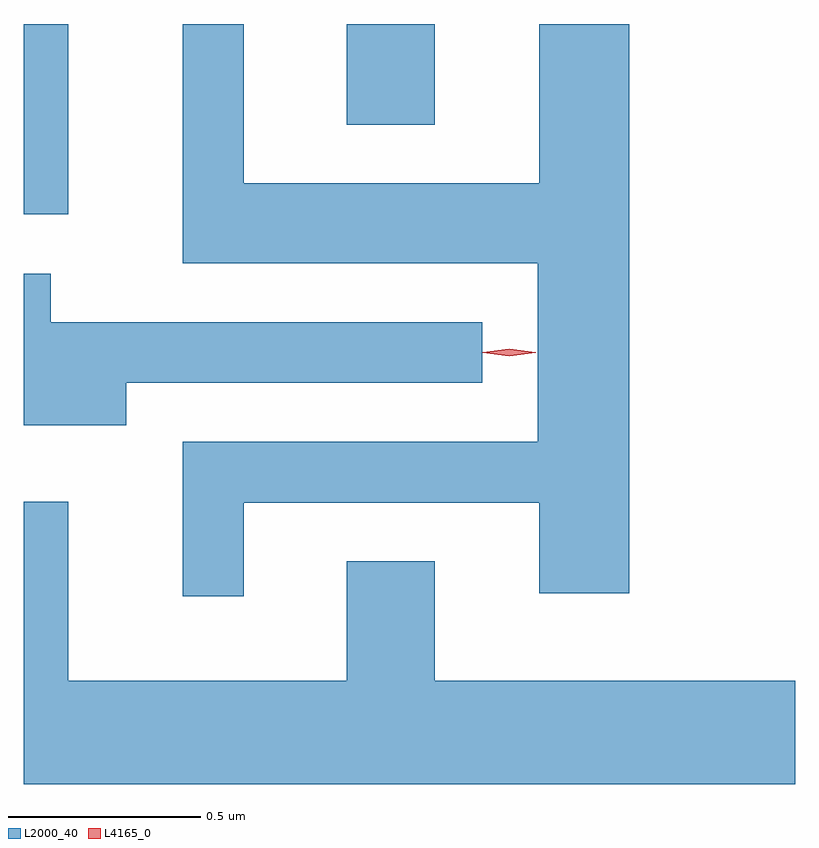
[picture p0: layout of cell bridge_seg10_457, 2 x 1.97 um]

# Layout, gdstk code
import gdstk
lib = gdstk.Library(unit=1e-6, precision=1e-09)
def R(c, l, rs):  # rectangles x0, y0, x1, y1
    for r in rs: c.add(gdstk.rectangle(r[:2], r[2:], *l))
def P(c, l, *ps):  # polygons
    for p in ps: c.add(gdstk.Polygon(p, *l))
L2000_40 = (2000, 40)
L4165_0 = (4165, 0)

bridge_seg10_457 = lib.new_cell('bridge_seg10_457')
R(bridge_seg10_457, L2000_40, [(1390.524,2117.613,1390.639,2118.107), (1391.361,2117.846,1391.589,2118.107)])
P(bridge_seg10_457, L2000_40, [(1391.094,2116.866),(1391.861,2116.866),(1391.861,2116.631),(1392.094,2116.631),(1392.094,2118.107),(1391.861,2118.107),(1391.861,2117.694),(1391.094,2117.694),(1391.094,2118.107),(1390.936,2118.107),(1390.936,2117.486),(1391.856,2117.486),(1391.856,2117.024),(1390.936,2117.024),(1390.936,2116.623),(1391.094,2116.623)],
  [(1390.789,2117.176),(1391.713,2117.176),(1391.713,2117.334),(1390.594,2117.334),(1390.594,2117.459),(1390.524,2117.459),(1390.524,2117.066),(1390.789,2117.066)],
  [(1392.524,2116.404),(1391.589,2116.404),(1391.589,2116.714),(1391.361,2116.714),(1391.361,2116.404),(1390.639,2116.404),(1390.639,2116.868),(1390.524,2116.868),(1390.524,2116.136),(1392.524,2116.136)])
P(bridge_seg10_457, L4165_0, [(1391.783,2117.245),(1391.717,2117.254),(1391.717,2117.255),(1391.717,2117.256),(1391.783,2117.265),(1391.849,2117.256),(1391.849,2117.255),(1391.849,2117.254)],
  [(1391.783,2117.245),(1391.714,2117.254),(1391.713,2117.255),(1391.714,2117.256),(1391.783,2117.265),(1391.852,2117.256),(1391.852,2117.255),(1391.852,2117.254)])

lib.write_gds('bridge_seg10_457.gds')
